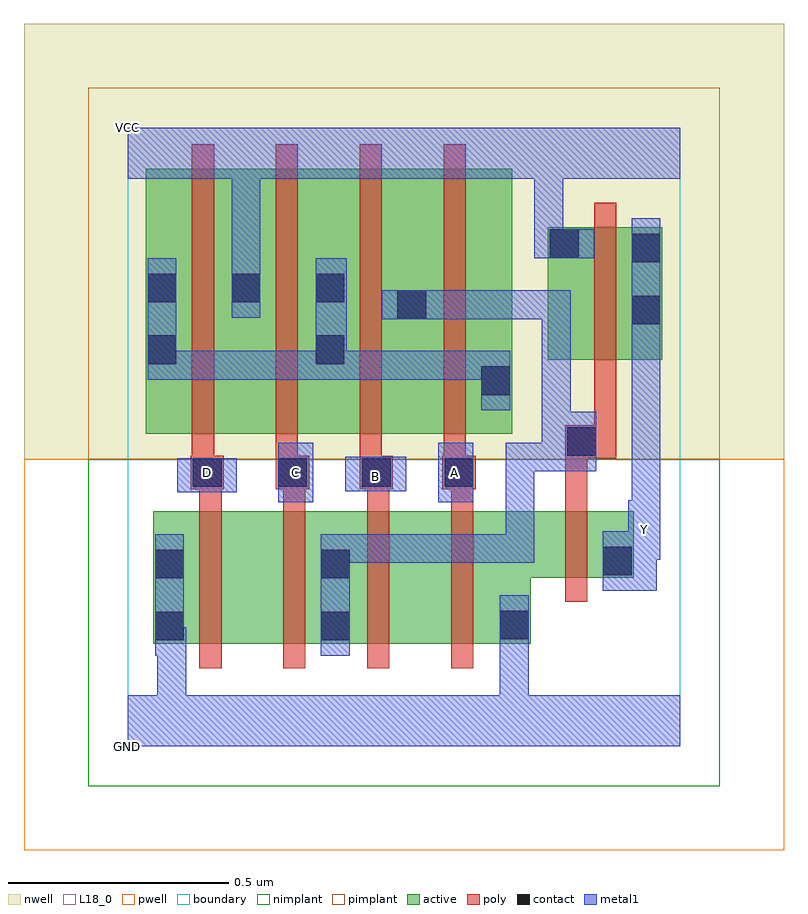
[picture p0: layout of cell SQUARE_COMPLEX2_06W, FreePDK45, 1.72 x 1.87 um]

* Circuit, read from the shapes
.subckt SQUARE_COMPLEX2_06W A B C D GND VCC Y
M1 n1 D GND VSUBS nfet w=0.3u l=0.05u
M2 n2 C n1 VSUBS nfet w=0.3u l=0.05u
M3 n3 B n2 VSUBS nfet w=0.3u l=0.05u
M4 GND A n3 VSUBS nfet w=0.3u l=0.05u
M5 Y n2 GND VSUBS nfet w=0.15u l=0.05u
M6 VCC D n4 n5 pfet w=0.6u l=0.05u
M7 n4 C VCC n5 pfet w=0.6u l=0.05u
M8 n2 B n4 n5 pfet w=0.6u l=0.05u
M9 n4 A n2 n5 pfet w=0.6u l=0.05u
M10 Y n2 VCC n5 pfet w=0.3u l=0.05u
.ends

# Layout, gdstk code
import gdstk
lib = gdstk.Library(unit=1e-6, precision=1e-09)
def R(c, l, rs):  # rectangles x0, y0, x1, y1
    for r in rs: c.add(gdstk.rectangle(r[:2], r[2:], *l))
def A(c, l, x, y, w, h, nx, ny, dx, dy):  # array of equal rectangles
    R(c, l, [(x+i*dx, y+j*dy, x+i*dx+w, y+j*dy+h) for i in range(nx) for j in range(ny)])
active = (1, 0)
pwell = (2, 0)
nwell = (3, 0)
nimplant = (4, 0)
pimplant = (5, 0)
poly = (9, 0)
contact = (10, 0)
metal1 = (11, 0)
L18_0 = (18, 0)
boundary = (235, 0)

square_complex2_06w = lib.new_cell('SQUARE_COMPLEX2_06W')
R(square_complex2_06w, active, [(0.057,0.232,0.282,0.532), (0.057,0.232,0.132,0.532), (0.282,0.232,0.507,0.532), (0.432,0.232,0.662,0.532), (0.432,0.232,0.507,0.45), (0.662,0.232,0.912,0.532), (0.837,0.232,0.912,0.382), (0.837,0.382,1.145,0.532), (1.07,0.382,1.145,0.532), (0.04,0.707,0.305,1.307), (0.04,0.707,0.115,1.2), (0.23,0.707,0.495,1.307), (0.23,0.707,0.305,1.307), (0.42,0.707,0.495,1.2), (0.42,0.707,0.68,1.307), (0.605,0.707,0.87,1.307), (0.605,0.707,0.68,1.2), (0.795,0.707,0.87,1.047), (0.95,0.875,1.21,1.175), (1.135,0.875,1.21,1.165), (0.95,0.965,1.025,1.175)])
R(square_complex2_06w, pwell, [(-0.235,-0.235,1.485,0.65)])
R(square_complex2_06w, nwell, [(-0.235,0.65,1.485,1.635)])
R(square_complex2_06w, nimplant, [(-0.09,-0.09,1.34,0.65)])
R(square_complex2_06w, pimplant, [(-0.09,0.65,1.34,1.49)])
A(square_complex2_06w, poly, 0.162, 0.177, 0.05, 0.41, 4, 1, 0.19, 0)
A(square_complex2_06w, poly, 0.162, 0.537, 0.05, 0.095, 4, 1, 0.19, 0)
A(square_complex2_06w, poly, 0.145, 0.607, 0.05, 0.095, 4, 1, 0.19, 0)
A(square_complex2_06w, poly, 0.145, 0.652, 0.05, 0.71, 4, 1, 0.19, 0)
R(square_complex2_06w, poly, [(0.99,0.327,1.04,0.587), (0.99,0.537,1.04,0.702), (0.142,0.582,0.217,0.657), (0.335,0.582,0.41,0.657), (0.525,0.582,0.6,0.657), (0.712,0.582,0.787,0.657), (0.99,0.652,1.105,0.727), (1.055,0.677,1.105,0.87), (1.055,0.82,1.105,1.23)])
A(square_complex2_06w, contact, 0.045, 1.005, 0.065, 0.065, 3, 1, 0.19, 0)
R(square_complex2_06w, contact, [(0.062,0.24,0.127,0.305), (0.437,0.24,0.502,0.305), (0.842,0.242,0.907,0.307), (0.062,0.38,0.127,0.445), (0.437,0.38,0.502,0.445), (1.075,0.387,1.14,0.452), (0.147,0.587,0.212,0.652), (0.34,0.587,0.405,0.652), (0.53,0.587,0.595,0.652), (0.717,0.587,0.782,0.652), (0.995,0.657,1.06,0.722), (0.8,0.795,0.865,0.86), (0.045,0.865,0.11,0.93), (0.425,0.865,0.49,0.93), (1.14,0.955,1.205,1.02), (0.61,0.967,0.675,1.032), (1.14,1.095,1.205,1.16), (0.955,1.105,1.02,1.17)])
R(square_complex2_06w, metal1, [(0,0,1.25,0.115), (0.067,0.05,0.132,0.115), (0.067,0.05,0.132,0.27), (0.842,0.05,0.907,0.272), (0.062,0.205,0.127,0.48), (0.062,0.205,0.127,0.27), (0.062,0.205,0.132,0.27), (0.067,0.205,0.132,0.27), (0.437,0.205,0.502,0.48), (0.842,0.207,0.907,0.272), (0.842,0.207,0.907,0.272), (0.842,0.207,0.907,0.272), (0.842,0.207,0.907,0.272), (0.842,0.207,0.907,0.342), (1.075,0.352,1.197,0.487), (0.437,0.415,0.502,0.48), (0.437,0.415,0.502,0.48), (0.437,0.415,0.71,0.48), (0.645,0.415,0.71,0.48), (0.645,0.415,0.71,0.48), (0.645,0.415,0.71,0.48), (0.645,0.415,0.92,0.48), (0.855,0.415,0.92,0.48), (0.855,0.415,0.92,0.687), (1.132,0.422,1.197,0.487), (1.132,0.422,1.205,0.557), (1.14,0.492,1.205,0.985), (0.34,0.552,0.42,0.687), (0.702,0.552,0.782,0.687), (0.112,0.575,0.247,0.652), (0.492,0.577,0.63,0.655), (0.855,0.622,0.92,0.687), (0.855,0.622,1.002,0.687), (0.937,0.622,1.002,0.687), (0.937,0.622,1.06,0.687), (0.937,0.622,1.002,1.032), (0.995,0.622,1.06,0.757), (0.8,0.76,0.865,0.895), (0.045,0.83,0.11,1.105), (0.045,0.83,0.11,0.895), (0.045,0.83,0.11,0.895), (0.045,0.83,0.352,0.895), (0.287,0.83,0.352,0.895), (0.287,0.83,0.352,0.895), (0.287,0.83,0.352,0.895), (0.287,0.83,0.49,0.895), (0.425,0.83,0.495,1.105), (0.43,0.83,0.495,0.895), (0.43,0.83,0.495,0.895), (0.43,0.83,0.71,0.895), (0.645,0.83,0.71,0.895), (0.645,0.83,0.71,0.895), (0.645,0.83,0.71,0.895), (0.645,0.83,0.865,0.895), (1.14,0.92,1.205,1.195), (0.575,0.967,0.71,1.032), (0.645,0.967,0.847,1.032), (0.782,0.967,0.847,1.032), (0.782,0.967,0.847,1.032), (0.782,0.967,0.847,1.032), (0.782,0.967,1.002,1.032), (0.937,0.967,1.002,1.032), (0.937,0.967,1.002,1.032), (0.937,0.967,1.002,1.032), (0.235,0.97,0.3,1.105), (0.235,1.04,0.3,1.35), (0.92,1.105,0.985,1.35), (0.92,1.105,1.055,1.17), (0,1.285,1.25,1.4), (0.92,1.285,0.985,1.35), (0.92,1.285,0.985,1.35), (0.92,1.285,0.985,1.35), (0.92,1.285,0.985,1.35)])
R(square_complex2_06w, L18_0, [(0,0,1.25,0.115), (0.067,0.05,0.132,0.27), (0.067,0.05,0.132,0.115), (0.842,0.05,0.907,0.272), (0.062,0.205,0.127,0.27), (0.062,0.205,0.132,0.27), (0.062,0.205,0.127,0.48), (0.067,0.205,0.132,0.27), (0.842,0.207,0.907,0.272), (0.842,0.207,0.907,0.272), (0.842,0.207,0.907,0.272), (0.842,0.207,0.907,0.272), (0.842,0.207,0.907,0.342), (1.075,0.352,1.197,0.487), (1.132,0.422,1.197,0.487), (1.132,0.422,1.205,0.557), (1.137,0.457,1.202,0.522), (1.14,0.492,1.205,0.985), (0.34,0.552,0.42,0.687), (0.702,0.552,0.782,0.687), (0.112,0.575,0.247,0.652), (0.492,0.577,0.63,0.655), (0.527,0.577,0.592,0.642), (0.147,0.587,0.212,0.652), (0.347,0.587,0.412,0.652), (0.707,0.587,0.772,0.652), (1.14,0.92,1.205,1.195), (0.235,0.97,0.3,1.105), (0.235,1.04,0.3,1.35), (0.92,1.105,1.055,1.17), (0.92,1.105,0.985,1.35), (0,1.285,1.25,1.4), (0.92,1.285,0.985,1.35), (0.92,1.285,0.985,1.35), (0.92,1.285,0.985,1.35), (0.92,1.285,0.985,1.35)])
R(square_complex2_06w, boundary, [(0,0,1.25,1.4)])
square_complex2_06w.add(gdstk.Label('A', (0.74,0.62), layer=11, texttype=0))
square_complex2_06w.add(gdstk.Label('B', (0.56,0.61), layer=11, texttype=0))
square_complex2_06w.add(gdstk.Label('C', (0.38,0.62), layer=11, texttype=0))
square_complex2_06w.add(gdstk.Label('D', (0.18,0.62), layer=11, texttype=0))
square_complex2_06w.add(gdstk.Label('Y', (1.17,0.49), layer=11, texttype=0))
square_complex2_06w.add(gdstk.Label('VCC', (0,1.4), layer=11, texttype=0))
square_complex2_06w.add(gdstk.Label('GND', (0,0), layer=11, texttype=0))

lib.write_gds('SQUARE_COMPLEX2_06W.gds')
